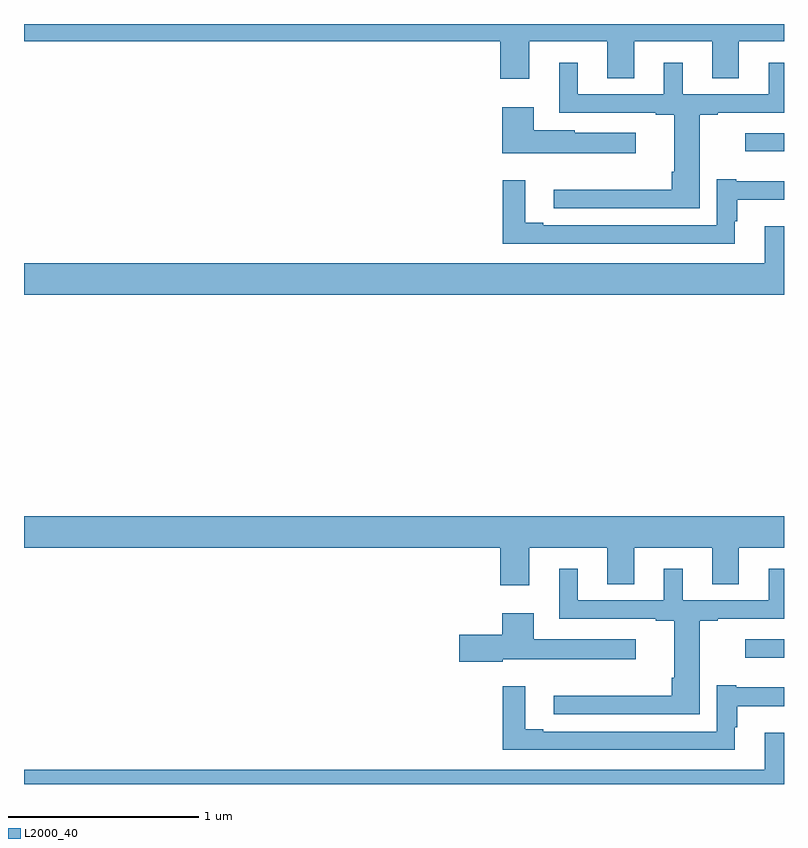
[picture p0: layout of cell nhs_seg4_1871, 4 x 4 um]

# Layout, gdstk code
import gdstk
lib = gdstk.Library(unit=1e-6, precision=1e-09)
def R(c, l, rs):  # rectangles x0, y0, x1, y1
    for r in rs: c.add(gdstk.rectangle(r[:2], r[2:], *l))
def P(c, l, *ps):  # polygons
    for p in ps: c.add(gdstk.Polygon(p, *l))
L2000_40 = (2000, 40)

nhs_seg4_1871 = lib.new_cell('nhs_seg4_1871')
R(nhs_seg4_1871, L2000_40, [(210.795,805.565,211,805.662), (210.795,808.229,211,808.326)])
P(nhs_seg4_1871, L2000_40, [(209.659,808.808),(210.071,808.808),(210.071,808.615),(210.211,808.615),(210.211,808.808),(210.623,808.808),(210.623,808.615),(210.763,808.615),(210.763,808.808),(211,808.808),(211,808.9),(207,808.9),(207,808.808),(209.507,808.808),(209.507,808.611),(209.659,808.611)],
  [(210.556,808.422),(210.652,808.422),(210.652,808.434),(211,808.434),(211,808.696),(210.92,808.696),(210.92,808.53),(210.466,808.53),(210.466,808.696),(210.368,808.696),(210.368,808.53),(209.914,808.53),(209.914,808.696),(209.816,808.696),(209.816,808.434),(210.326,808.434),(210.326,808.422),(210.422,808.422),(210.422,808.123),(210.41,808.123),(210.41,808.028),(209.787,808.028),(209.787,807.93),(210.556,807.93)],
  [(210.22,808.327),(209.898,808.327),(209.898,808.342),(209.683,808.342),(209.683,808.462),(209.516,808.462),(209.516,808.22),(210.22,808.22)],
  [(210.742,807.863),(210.754,807.863),(210.754,807.974),(211,807.974),(211,808.072),(210.748,808.072),(210.748,808.084),(210.645,808.084),(210.645,807.84),(209.734,807.84),(209.734,807.853),(209.638,807.853),(209.638,808.078),(209.521,808.078),(209.521,807.744),(210.742,807.744)],
  [(211,807.835),(210.899,807.835),(210.899,807.64),(207,807.64),(207,807.476),(211,807.476)],
  [(207,806.144),(209.507,806.144),(209.507,805.947),(209.659,805.947),(209.659,806.144),(210.071,806.144),(210.071,805.951),(210.211,805.951),(210.211,806.144),(210.623,806.144),(210.623,805.951),(210.763,805.951),(210.763,806.144),(211,806.144),(211,806.308),(207,806.308)],
  [(210.556,805.758),(210.652,805.758),(210.652,805.77),(211,805.77),(211,806.032),(210.92,806.032),(210.92,805.866),(210.466,805.866),(210.466,806.032),(210.368,806.032),(210.368,805.866),(209.914,805.866),(209.914,806.032),(209.816,806.032),(209.816,805.77),(210.326,805.77),(210.326,805.758),(210.422,805.758),(210.422,805.459),(210.41,805.459),(210.41,805.364),(209.787,805.364),(209.787,805.266),(210.556,805.266)],
  [(209.52,805.556),(210.22,805.556),(210.22,805.663),(209.683,805.663),(209.683,805.798),(209.516,805.798),(209.516,805.686),(209.292,805.686),(209.292,805.544),(209.52,805.544)],
  [(210.742,805.199),(210.754,805.199),(210.754,805.31),(211,805.31),(211,805.408),(210.748,805.408),(210.748,805.42),(210.645,805.42),(210.645,805.176),(209.734,805.176),(209.734,805.189),(209.638,805.189),(209.638,805.414),(209.521,805.414),(209.521,805.08),(210.742,805.08)],
  [(211,805.171),(210.899,805.171),(210.899,804.976),(207,804.976),(207,804.9),(211,804.9)])

lib.write_gds('nhs_seg4_1871.gds')
